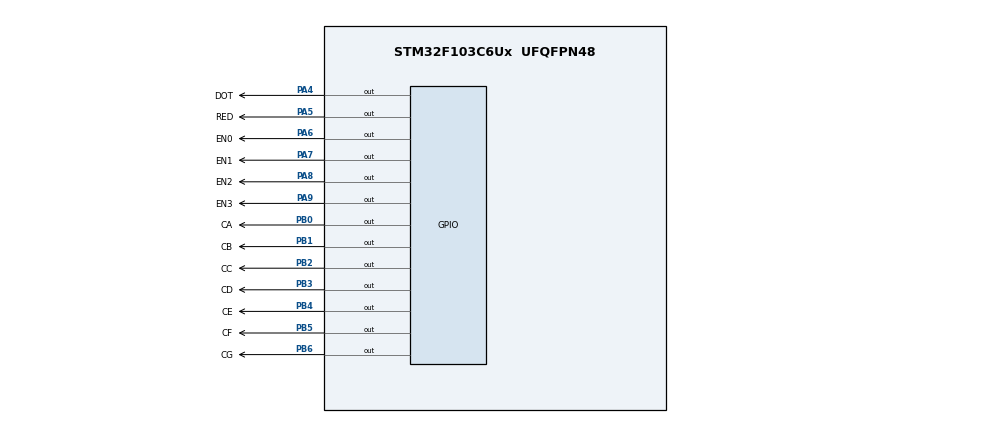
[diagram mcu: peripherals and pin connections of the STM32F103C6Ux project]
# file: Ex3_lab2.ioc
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Mcu.Family=STM32F1
Mcu.Name=STM32F103C6Ux
Mcu.Package=UFQFPN48
NVIC.PriorityGroup=NVIC_PRIORITYGROUP_4
NVIC.TIM2_IRQn=true\:0\:0\:false\:false\:true\:true\:true
PA4.GPIO_Label=DOT
PA4.Signal=GPIO_Output
PA5.GPIO_Label=RED
PA5.Signal=GPIO_Output
PA6.GPIO_Label=EN0
PA6.Signal=GPIO_Output
PA7.GPIO_Label=EN1
PA7.Signal=GPIO_Output
PA8.GPIO_Label=EN2
PA8.Signal=GPIO_Output
PA9.GPIO_Label=EN3
PA9.Signal=GPIO_Output
PB0.GPIO_Label=CA
PB0.Signal=GPIO_Output
PB1.GPIO_Label=CB
PB1.Signal=GPIO_Output
PB2.GPIO_Label=CC
PB2.Signal=GPIO_Output
PB3.GPIO_Label=CD
PB3.Signal=GPIO_Output
PB4.GPIO_Label=CE
PB4.Signal=GPIO_Output
PB5.GPIO_Label=CF
PB5.Signal=GPIO_Output
PB6.GPIO_Label=CG
PB6.Signal=GPIO_Output
ProjectManager.HeapSize=0x200
ProjectManager.StackSize=0x400
ProjectManager.TargetToolchain=STM32CubeIDE
RCC.APB1Freq_Value=8000000
RCC.APB2Freq_Value=8000000
TIM2.Period=9
TIM2.Prescaler=7999
VP_SYS_VS_ND.Mode=No_Debug
VP_TIM2_VS_ClockSourceINT.Mode=Internal
board=custom

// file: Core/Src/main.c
/* USER CODE BEGIN Header */
/**
  ******************************************************************************
  * @file           : main.c
  * @brief          : Main program body
  ******************************************************************************
  * @attention
  *
  * <h2><center>&copy; Copyright (c) 2022 STMicroelectronics.
  * All rights reserved.</center></h2>
  *
  * This software component is licensed by ST under BSD 3-Clause license,
  * the "License"; You may not use this file except in compliance with the
  * License. You may obtain a copy of the License at:
  *                        opensource.org/licenses/BSD-3-Clause
  *
  ******************************************************************************
  */
/* USER CODE END Header */
#include "main.h"

TIM_HandleTypeDef htim2;

void SystemClock_Config(void);
static void MX_GPIO_Init(void);
static void MX_TIM2_Init(void);

int main(void)
{

  /* MCU Configuration--------------------------------------------------------*/

  /* Reset of all peripherals, Initializes the Flash interface and the Systick. */
  HAL_Init();

  /* USER CODE BEGIN Init */
  void display7SEG(int num);
  /* USER CODE END Init */

  /* Configure the system clock */
  SystemClock_Config();

  /* Initialize all configured peripherals */
  MX_GPIO_Init();
  MX_TIM2_Init();
  /* USER CODE BEGIN 2 */
  HAL_TIM_Base_Start_IT(&htim2);
  /* USER CODE END 2 */

  /* Infinite loop */
  while (1)
  {

  }
}

void SystemClock_Config(void)
{
  RCC_OscInitTypeDef RCC_OscInitStruct = {0};
  RCC_ClkInitTypeDef RCC_ClkInitStruct = {0};

  /** Initializes the RCC Oscillators according to the specified parameters
  * in the RCC_OscInitTypeDef structure.
  */
  RCC_OscInitStruct.OscillatorType = RCC_OSCILLATORTYPE_HSI;
  RCC_OscInitStruct.HSIState = RCC_HSI_ON;
  RCC_OscInitStruct.HSICalibrationValue = RCC_HSICALIBRATION_DEFAULT;
  RCC_OscInitStruct.PLL.PLLState = RCC_PLL_NONE;
  if (HAL_RCC_OscConfig(&RCC_OscInitStruct) != HAL_OK)
  {
    Error_Handler();
  }
  /** Initializes the CPU, AHB and APB buses clocks
  */
  RCC_ClkInitStruct.ClockType = RCC_CLOCKTYPE_HCLK|RCC_CLOCKTYPE_SYSCLK
                              |RCC_CLOCKTYPE_PCLK1|RCC_CLOCKTYPE_PCLK2;
  RCC_ClkInitStruct.SYSCLKSource = RCC_SYSCLKSOURCE_HSI;
  RCC_ClkInitStruct.AHBCLKDivider = RCC_SYSCLK_DIV1;
  RCC_ClkInitStruct.APB1CLKDivider = RCC_HCLK_DIV1;
  RCC_ClkInitStruct.APB2CLKDivider = RCC_HCLK_DIV1;

  if (HAL_RCC_ClockConfig(&RCC_ClkInitStruct, FLASH_LATENCY_0) != HAL_OK)
  {
    Error_Handler();
  }
}

static void MX_TIM2_Init(void)
{

  TIM_ClockConfigTypeDef sClockSourceConfig = {0};
  TIM_MasterConfigTypeDef sMasterConfig = {0};

  htim2.Instance = TIM2;
  htim2.Init.Prescaler = 7999;
  htim2.Init.CounterMode = TIM_COUNTERMODE_UP;
  htim2.Init.Period = 9;
  htim2.Init.ClockDivision = TIM_CLOCKDIVISION_DIV1;
  htim2.Init.AutoReloadPreload = TIM_AUTORELOAD_PRELOAD_DISABLE;
  if (HAL_TIM_Base_Init(&htim2) != HAL_OK)
  {
    Error_Handler();
  }
  sClockSourceConfig.ClockSource = TIM_CLOCKSOURCE_INTERNAL;
  if (HAL_TIM_ConfigClockSource(&htim2, &sClockSourceConfig) != HAL_OK)
  {
    Error_Handler();
  }
  sMasterConfig.MasterOutputTrigger = TIM_TRGO_RESET;
  sMasterConfig.MasterSlaveMode = TIM_MASTERSLAVEMODE_DISABLE;
  if (HAL_TIMEx_MasterConfigSynchronization(&htim2, &sMasterConfig) != HAL_OK)
  {
    Error_Handler();
  }

}

static void MX_GPIO_Init(void)
{
  GPIO_InitTypeDef GPIO_InitStruct = {0};

  /* GPIO Ports Clock Enable */
  __HAL_RCC_GPIOA_CLK_ENABLE();
  __HAL_RCC_GPIOB_CLK_ENABLE();

  /*Configure GPIO pin Output Level */
  HAL_GPIO_WritePin(GPIOA, DOT_Pin|RED_Pin|EN0_Pin|EN1_Pin
                          |EN2_Pin|EN3_Pin, GPIO_PIN_RESET);

  /*Configure GPIO pin Output Level */
  HAL_GPIO_WritePin(GPIOB, CA_Pin|CB_Pin|CC_Pin|CD_Pin
                          |CE_Pin|CF_Pin|CG_Pin, GPIO_PIN_RESET);

  /*Configure GPIO pins : DOT_Pin RED_Pin EN0_Pin EN1_Pin
                           EN2_Pin EN3_Pin */
  GPIO_InitStruct.Pin = DOT_Pin|RED_Pin|EN0_Pin|EN1_Pin
                          |EN2_Pin|EN3_Pin;
  GPIO_InitStruct.Mode = GPIO_MODE_OUTPUT_PP;
  GPIO_InitStruct.Pull = GPIO_NOPULL;
  GPIO_InitStruct.Speed = GPIO_SPEED_FREQ_LOW;
  HAL_GPIO_Init(GPIOA, &GPIO_InitStruct);

  /*Configure GPIO pins : CA_Pin CB_Pin CC_Pin CD_Pin
                           CE_Pin CF_Pin CG_Pin */
  GPIO_InitStruct.Pin = CA_Pin|CB_Pin|CC_Pin|CD_Pin
                          |CE_Pin|CF_Pin|CG_Pin;
  GPIO_InitStruct.Mode = GPIO_MODE_OUTPUT_PP;
  GPIO_InitStruct.Pull = GPIO_NOPULL;
  GPIO_InitStruct.Speed = GPIO_SPEED_FREQ_LOW;
  HAL_GPIO_Init(GPIOB, &GPIO_InitStruct);

}

/* USER CODE BEGIN 4 */
void display7SEG(int num){
	HAL_GPIO_WritePin(CA_GPIO_Port, CA_Pin, 1);
	HAL_GPIO_WritePin(CB_GPIO_Port, CB_Pin, 1);
	HAL_GPIO_WritePin(CC_GPIO_Port, CC_Pin, 1);
	HAL_GPIO_WritePin(CD_GPIO_Port, CD_Pin, 1);
	HAL_GPIO_WritePin(CE_GPIO_Port, CE_Pin, 1);
	HAL_GPIO_WritePin(CF_GPIO_Port, CF_Pin, 1);
	HAL_GPIO_WritePin(CG_GPIO_Port, CG_Pin, 1);
	switch(num){
	case 0:{
		HAL_GPIO_WritePin(CA_GPIO_Port, CA_Pin, 0);
		HAL_GPIO_WritePin(CB_GPIO_Port, CB_Pin, 0);
		HAL_GPIO_WritePin(CC_GPIO_Port, CC_Pin, 0);
		HAL_GPIO_WritePin(CD_GPIO_Port, CD_Pin, 0);
		HAL_GPIO_WritePin(CE_GPIO_Port, CE_Pin, 0);
		HAL_GPIO_WritePin(CF_GPIO_Port, CF_Pin, 0);
		break;
	}
	case 1:{
		HAL_GPIO_WritePin(CB_GPIO_Port, CB_Pin, 0);
		HAL_GPIO_WritePin(CC_GPIO_Port, CC_Pin, 0);
		break;
	}
	case 2:{
		HAL_GPIO_WritePin(CA_GPIO_Port, CA_Pin, 0);
		HAL_GPIO_WritePin(CB_GPIO_Port, CB_Pin, 0);
		HAL_GPIO_WritePin(CG_GPIO_Port, CG_Pin, 0);
		HAL_GPIO_WritePin(CD_GPIO_Port, CD_Pin, 0);
		HAL_GPIO_WritePin(CE_GPIO_Port, CE_Pin, 0);
		break;
	}
	case 3:{
		HAL_GPIO_WritePin(CA_GPIO_Port, CA_Pin, 0);
		HAL_GPIO_WritePin(CB_GPIO_Port, CB_Pin, 0);
		HAL_GPIO_WritePin(CC_GPIO_Port, CC_Pin, 0);
		HAL_GPIO_WritePin(CD_GPIO_Port, CD_Pin, 0);
		HAL_GPIO_WritePin(CG_GPIO_Port, CG_Pin, 0);
		break;
	}
	case 4:{
		HAL_GPIO_WritePin(CB_GPIO_Port, CB_Pin, 0);
		HAL_GPIO_WritePin(CC_GPIO_Port, CC_Pin, 0);
		HAL_GPIO_WritePin(CG_GPIO_Port, CG_Pin, 0);
		HAL_GPIO_WritePin(CF_GPIO_Port, CF_Pin, 0);
		break;
	}
	case 5:{
		HAL_GPIO_WritePin(CA_GPIO_Port, CA_Pin, 0);
		HAL_GPIO_WritePin(CC_GPIO_Port, CC_Pin, 0);
		HAL_GPIO_WritePin(CD_GPIO_Port, CD_Pin, 0);
		HAL_GPIO_WritePin(CG_GPIO_Port, CG_Pin, 0);
		HAL_GPIO_WritePin(CF_GPIO_Port, CF_Pin, 0);
		break;
	}
	case 6:{
		HAL_GPIO_WritePin(CA_GPIO_Port, CA_Pin, 0);
		HAL_GPIO_WritePin(CG_GPIO_Port, CG_Pin, 0);
		HAL_GPIO_WritePin(CC_GPIO_Port, CC_Pin, 0);
		HAL_GPIO_WritePin(CD_GPIO_Port, CD_Pin, 0);
		HAL_GPIO_WritePin(CE_GPIO_Port, CE_Pin, 0);
		HAL_GPIO_WritePin(CF_GPIO_Port, CF_Pin, 0);
		break;
	}
	case 7:{
		HAL_GPIO_WritePin(CA_GPIO_Port, CA_Pin, 0);
		HAL_GPIO_WritePin(CB_GPIO_Port, CB_Pin, 0);
		HAL_GPIO_WritePin(CC_GPIO_Port, CC_Pin, 0);
		break;
	}
	case 8:{
		HAL_GPIO_WritePin(CA_GPIO_Port, CA_Pin, 0);
		HAL_GPIO_WritePin(CB_GPIO_Port, CB_Pin, 0);
		HAL_GPIO_WritePin(CC_GPIO_Port, CC_Pin, 0);
		HAL_GPIO_WritePin(CD_GPIO_Port, CD_Pin, 0);
		HAL_GPIO_WritePin(CE_GPIO_Port, CE_Pin, 0);
		HAL_GPIO_WritePin(CF_GPIO_Port, CF_Pin, 0);
		HAL_GPIO_WritePin(CG_GPIO_Port, CG_Pin, 0);
		break;
	}
	case 9:{
		HAL_GPIO_WritePin(CA_GPIO_Port, CA_Pin, 0);
		HAL_GPIO_WritePin(CB_GPIO_Port, CB_Pin, 0);
		HAL_GPIO_WritePin(CC_GPIO_Port, CC_Pin, 0);
		HAL_GPIO_WritePin(CD_GPIO_Port, CD_Pin, 0);
		HAL_GPIO_WritePin(CF_GPIO_Port, CF_Pin, 0);
		HAL_GPIO_WritePin(CG_GPIO_Port, CG_Pin, 0);
		break;
	}
	default: break;
	}
}
const int MAX_LED = 4;
int index_led = 0;
int led_buffer [4] = {1 , 2 , 3 , 4};
void update7SEG ( int index ) {
	switch ( index ) {
		case 0:{
			HAL_GPIO_WritePin(EN0_GPIO_Port, EN0_Pin, 0);
			HAL_GPIO_WritePin(EN1_GPIO_Port, EN1_Pin, 1);
			HAL_GPIO_WritePin(EN2_GPIO_Port, EN2_Pin, 1);
			HAL_GPIO_WritePin(EN3_GPIO_Port, EN3_Pin, 1);
			display7SEG(led_buffer[0]);
			break;
		}
		case 1:{
			HAL_GPIO_WritePin(EN0_GPIO_Port, EN0_Pin, 1);
			HAL_GPIO_WritePin(EN1_GPIO_Port, EN1_Pin, 0);
			HAL_GPIO_WritePin(EN2_GPIO_Port, EN2_Pin, 1);
			HAL_GPIO_WritePin(EN3_GPIO_Port, EN3_Pin, 1);
			display7SEG(led_buffer[1]);
			break;
		}
		case 2:{
			HAL_GPIO_WritePin(EN0_GPIO_Port, EN0_Pin, 1);
			HAL_GPIO_WritePin(EN1_GPIO_Port, EN1_Pin, 1);
			HAL_GPIO_WritePin(EN2_GPIO_Port, EN2_Pin, 0);
			HAL_GPIO_WritePin(EN3_GPIO_Port, EN3_Pin, 1);
			display7SEG(led_buffer[2]);
			break;
		}
		case 3:{
			HAL_GPIO_WritePin(EN0_GPIO_Port, EN0_Pin, 1);
			HAL_GPIO_WritePin(EN1_GPIO_Port, EN1_Pin, 1);
			HAL_GPIO_WritePin(EN2_GPIO_Port, EN2_Pin, 1);
			HAL_GPIO_WritePin(EN3_GPIO_Port, EN3_Pin, 0);
			display7SEG(led_buffer[3]);
			break;
		}
		default :
			break ;
	}
 }
int counter1 = 100;
int counter2 = 50;
int counter3 = 100;
void HAL_TIM_PeriodElapsedCallback(TIM_HandleTypeDef *htim){
	counter1--;
	if ( counter1 <= 0) {
	counter1 = 100;
	HAL_GPIO_TogglePin(RED_GPIO_Port ,RED_Pin );
	}
	counter2--;
	if(counter2<=0){
	  counter2 = 50;

	  if(index_led>3){
		  index_led=0;
	  }
	  update7SEG(index_led++);
	}
	counter3--;
	if(counter3<=0){
		counter3=100;
		HAL_GPIO_TogglePin(DOT_GPIO_Port, DOT_Pin);
	}
}
/* USER CODE END 4 */

void Error_Handler(void)
{
  __disable_irq();
  while (1)
  {
  }
}

/************************ (C) COPYRIGHT STMicroelectronics *****END OF FILE****/
